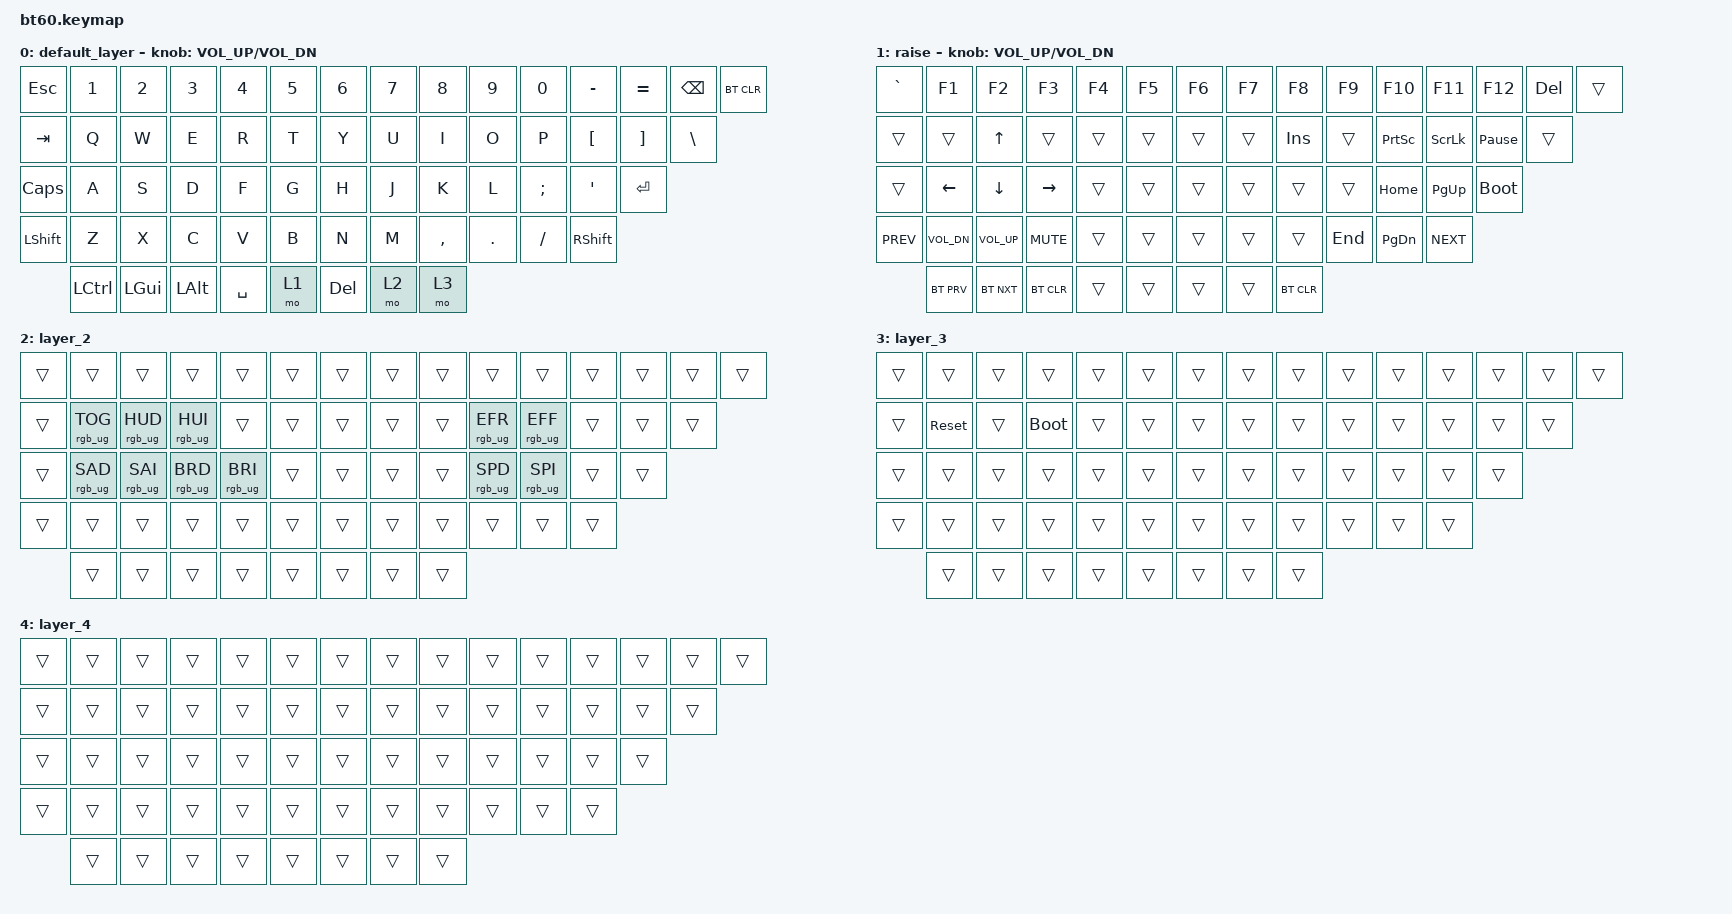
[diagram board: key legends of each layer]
#include <behaviors.dtsi>
#include <dt-bindings/zmk/bt.h>
#include <dt-bindings/zmk/keys.h>
#include <dt-bindings/zmk/rgb.h>

/ {
    keymap {
        compatible = "zmk,keymap";

        default_layer {
            // ------------------------------------------------------------------------------------------
            // | ESC |  1  |  2  |  3  |  4  |  5  |  6  |  7  |  8  |  9  |  0  |  -  |  =  |   BKSP   | DEL
            // | TAB  |  Q  |  W  |  E  |  R  |  T  |  Y  |  U  |  I  |  O  |  P  |  [  |  ]  |   |    |
            // | CAPS  |  A  |  S  |  D  |  F  |  G  |  H  |  J  |  K  |  L  |  ;  |  '  |     ENTER    |
            // |  SHIFT    |  Z  |  X  |  C  |  V  |  B  |  N  |  M  |  ,  |  .  | /   |      SHIFT     |
            // |  CTL  |  WIN  |  ALT  |            SPACE               | ALT | 1    |  MENU    |  CTRL    |
            // ------------------------------------------------------------------------------------------

            bindings = <
&kp ESC    &kp N1     &kp N2    &kp N3    &kp N4     &kp N5  &kp N6   &kp N7  &kp N8     &kp N9   &kp N0    &kp MINUS  &kp EQUAL  &kp BSPC  &bt BT_CLR
&kp TAB    &kp Q      &kp W     &kp E     &kp R      &kp T   &kp Y    &kp U   &kp I      &kp O    &kp P     &kp LBKT   &kp RBKT   &kp BSLH
&kp CLCK   &kp A      &kp S     &kp D     &kp F      &kp G   &kp H    &kp J   &kp K      &kp L    &kp SEMI  &kp SQT    &kp RET
&kp LSHFT  &kp Z      &kp X     &kp C     &kp V      &kp B   &kp N    &kp M   &kp COMMA  &kp DOT  &kp FSLH  &kp RSHFT
           &kp LCTRL  &kp LGUI  &kp LALT  &kp SPACE  &mo 1   &kp DEL  &mo 2   &mo 3
            >;

            sensor-bindings = <&inc_dec_kp C_VOL_UP C_VOL_DN>;
        };

        raise {
            bindings = <
&kp GRAVE   &kp F1        &kp F2        &kp F3      &kp F4  &kp F5  &kp F6  &kp F7  &kp F8      &kp F9   &kp F10    &kp F11     &kp F12          &kp DEL  &trans
&trans      &trans        &kp UP        &trans      &trans  &trans  &trans  &trans  &kp INS     &trans   &kp PSCRN  &kp SLCK    &kp PAUSE_BREAK  &trans
&trans      &kp LEFT      &kp DOWN      &kp RIGHT   &trans  &trans  &trans  &trans  &trans      &trans   &kp HOME   &kp PG_UP   &bootloader
&kp C_PREV  &kp C_VOL_DN  &kp C_VOL_UP  &kp C_MUTE  &trans  &trans  &trans  &trans  &trans      &kp END  &kp PG_DN  &kp C_NEXT
            &bt BT_PRV    &bt BT_NXT    &bt BT_CLR  &trans  &trans  &trans  &trans  &bt BT_CLR
            >;

            sensor-bindings = <&inc_dec_kp C_VOL_UP C_VOL_DN>;
        };

        layer_2 {
            bindings = <
&trans  &trans           &trans           &trans           &trans           &trans  &trans  &trans  &trans  &trans           &trans           &trans  &trans  &trans  &trans
&trans  &rgb_ug RGB_TOG  &rgb_ug RGB_HUD  &rgb_ug RGB_HUI  &trans           &trans  &trans  &trans  &trans  &rgb_ug RGB_EFR  &rgb_ug RGB_EFF  &trans  &trans  &trans
&trans  &rgb_ug RGB_SAD  &rgb_ug RGB_SAI  &rgb_ug RGB_BRD  &rgb_ug RGB_BRI  &trans  &trans  &trans  &trans  &rgb_ug RGB_SPD  &rgb_ug RGB_SPI  &trans  &trans
&trans  &trans           &trans           &trans           &trans           &trans  &trans  &trans  &trans  &trans           &trans           &trans
        &trans           &trans           &trans           &trans           &trans  &trans  &trans  &trans
            >;
        };

        layer_3 {
            bindings = <
&trans  &trans      &trans  &trans       &trans  &trans  &trans  &trans  &trans  &trans  &trans  &trans  &trans  &trans  &trans
&trans  &sys_reset  &trans  &bootloader  &trans  &trans  &trans  &trans  &trans  &trans  &trans  &trans  &trans  &trans
&trans  &trans      &trans  &trans       &trans  &trans  &trans  &trans  &trans  &trans  &trans  &trans  &trans
&trans  &trans      &trans  &trans       &trans  &trans  &trans  &trans  &trans  &trans  &trans  &trans
        &trans      &trans  &trans       &trans  &trans  &trans  &trans  &trans
            >;
        };

        layer_4 {
            bindings = <
&trans  &trans  &trans  &trans  &trans  &trans  &trans  &trans  &trans  &trans  &trans  &trans  &trans  &trans  &trans
&trans  &trans  &trans  &trans  &trans  &trans  &trans  &trans  &trans  &trans  &trans  &trans  &trans  &trans
&trans  &trans  &trans  &trans  &trans  &trans  &trans  &trans  &trans  &trans  &trans  &trans  &trans
&trans  &trans  &trans  &trans  &trans  &trans  &trans  &trans  &trans  &trans  &trans  &trans
        &trans  &trans  &trans  &trans  &trans  &trans  &trans  &trans
            >;
        };
    };
};
